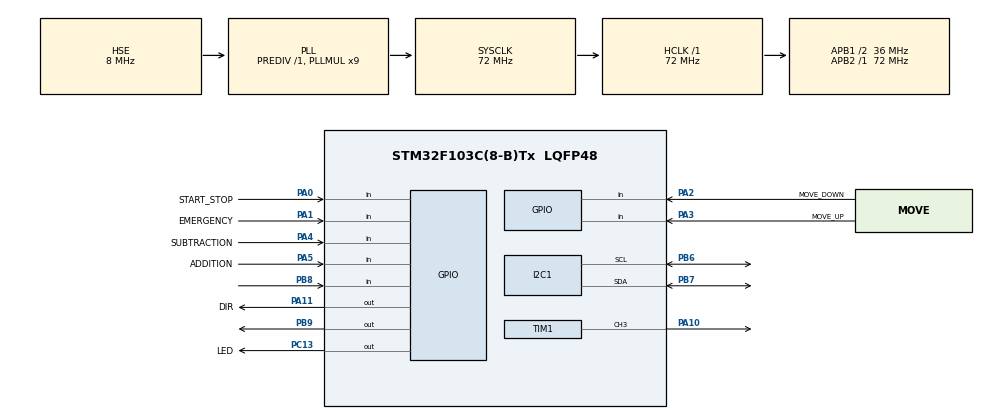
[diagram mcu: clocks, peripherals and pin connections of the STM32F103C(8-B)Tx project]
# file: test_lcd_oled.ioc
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I2C1.I2C_Mode=I2C_Fast
Mcu.Family=STM32F1
Mcu.Name=STM32F103C(8-B)Tx
Mcu.Package=LQFP48
NVIC.PriorityGroup=NVIC_PRIORITYGROUP_4
NVIC.TIM3_IRQn=true\:0\:0\:false\:false\:true\:true\:true\:true
NVIC.TIM4_IRQn=true\:0\:0\:false\:false\:true\:true\:true\:true
PA0-WKUP.GPIO_Label=START_STOP
PA0-WKUP.GPIO_PuPd=GPIO_PULLUP
PA0-WKUP.Signal=GPIO_Input
PA1.GPIO_Label=EMERGENCY
PA1.GPIO_PuPd=GPIO_PULLUP
PA1.Signal=GPIO_Input
PA10.Signal=S_TIM1_CH3
PA11.GPIO_Label=DIR
PA11.GPIO_PuPd=GPIO_PULLUP
PA11.PinState=GPIO_PIN_RESET
PA11.Signal=GPIO_Output
PA13.Mode=Serial_Wire
PA13.Signal=SYS_JTMS-SWDIO
PA14.Mode=Serial_Wire
PA14.Signal=SYS_JTCK-SWCLK
PA2.GPIO_Label=MOVE_DOWN
PA2.GPIO_Mode=GPIO_MODE_INPUT
PA2.GPIO_PuPd=GPIO_PULLUP
PA2.Signal=GPIO_Input
PA3.GPIO_Label=MOVE_UP
PA3.GPIO_PuPd=GPIO_PULLUP
PA3.Signal=GPIO_Input
PA4.GPIO_Label=SUBTRACTION
PA4.GPIO_PuPd=GPIO_PULLUP
PA4.Signal=GPIO_Input
PA5.GPIO_Label=ADDITION
PA5.GPIO_PuPd=GPIO_PULLUP
PA5.Signal=GPIO_Input
PB6.Mode=I2C
PB6.Signal=I2C1_SCL
PB7.Mode=I2C
PB7.Signal=I2C1_SDA
PB8.Signal=GPIO_Input
PB9.Signal=GPIO_Output
PC13-TAMPER-RTC.GPIO_Label=LED
PC13-TAMPER-RTC.GPIO_PuPd=GPIO_PULLDOWN
PC13-TAMPER-RTC.PinState=GPIO_PIN_SET
PC13-TAMPER-RTC.Signal=GPIO_Output
PD0-OSC_IN.Mode=HSE-External-Oscillator
PD0-OSC_IN.Signal=RCC_OSC_IN
PD1-OSC_OUT.Mode=HSE-External-Oscillator
PD1-OSC_OUT.Signal=RCC_OSC_OUT
ProjectManager.HeapSize=0x200
ProjectManager.StackSize=0x400
ProjectManager.TargetToolchain=STM32CubeIDE
RCC.AHBFreq_Value=72000000
RCC.APB1CLKDivider=RCC_HCLK_DIV2
RCC.APB1Freq_Value=36000000
RCC.APB1TimFreq_Value=72000000
RCC.APB2Freq_Value=72000000
RCC.APB2TimFreq_Value=72000000
RCC.HCLKFreq_Value=72000000
RCC.PLLMUL=RCC_PLL_MUL9
RCC.PLLSourceVirtual=RCC_PLLSOURCE_HSE
RCC.SYSCLKFreq_VALUE=72000000
RCC.SYSCLKSource=RCC_SYSCLKSOURCE_PLLCLK
RCC.USBFreq_Value=72000000
SH.S_TIM1_CH3.0=TIM1_CH3,PWM Generation3 CH3
TIM1.Channel-PWM\ Generation3\ CH3=TIM_CHANNEL_3
TIM1.Period=999
TIM1.Prescaler=71
TIM2.Prescaler=71
TIM3.Period=71
TIM3.Prescaler=9999
TIM4.Period=7199
TIM4.Prescaler=9999
VP_TIM1_VS_ClockSourceINT.Mode=Internal
VP_TIM2_VS_ClockSourceINT.Mode=Internal
VP_TIM3_VS_ClockSourceINT.Mode=Internal
VP_TIM4_VS_ClockSourceINT.Mode=Internal
board=custom

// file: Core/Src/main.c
/* USER CODE BEGIN Header */
/**
  ******************************************************************************
  * @file           : main.c
  * @brief          : Main program body
  ******************************************************************************
  * @attention
  *
  * Copyright (c) 2024 STMicroelectronics.
  * All rights reserved.
  *
  * This software is licensed under terms that can be found in the LICENSE file
  * in the root directory of this software component.
  * If no LICENSE file comes with this software, it is provided AS-IS.
  *
  ******************************************************************************
  */
/* USER CODE END Header */
#include "main.h"

/* USER CODE BEGIN Includes */
#include "fonts.h"
#include "ssd1306.h"
#include "stdio.h"
#include "software_timer.h"
#include "button.h"
/* USER CODE END Includes */

/* USER CODE BEGIN PD */
#define DIR_PIN GPIO_PIN_11
#define DIR_PORT GPIOA
#define STEP_PIN GPIO_PIN_10
#define STEP_PORT GPIOA

#define DT_PIN GPIO_PIN_8
#define DT_PORT GPIOB
#define SCK_PIN GPIO_PIN_9
#define SCK_PORT GPIOB

/* USER CODE END PD */

I2C_HandleTypeDef hi2c1;

TIM_HandleTypeDef htim1;
TIM_HandleTypeDef htim2;
TIM_HandleTypeDef htim3;
TIM_HandleTypeDef htim4;

/* USER CODE BEGIN PV */
int i = 11; //points axit y in lcd oled

uint8_t counter = 0;
uint8_t status = 0;

uint8_t set_mode = 1;
uint8_t set_times = 1;
uint8_t set_step = 1;
uint8_t set_lengh = 1;

uint8_t times = 1;
uint8_t lengh = 0;

//variables for step motor
uint8_t dir = 0;

//variables for loadcell
uint32_t force = 0;
uint32_t tare = 8349807;
float knownOriginal = 46000000;  // in milli gram
float knownHX711 = 244104; // 244104
int weight;
/* USER CODE END PV */

void SystemClock_Config(void);
static void MX_GPIO_Init(void);
static void MX_I2C1_Init(void);
static void MX_TIM1_Init(void);
static void MX_TIM2_Init(void);
static void MX_TIM3_Init(void);
static void MX_TIM4_Init(void);

/* USER CODE BEGIN 0 */
void microDelay(uint32_t delay)
{
  __HAL_TIM_SET_COUNTER(&htim2, 0);
  while (__HAL_TIM_GET_COUNTER(&htim2) < delay);
}

int32_t getHX711(void)
{
  uint32_t data = 0;
  uint32_t startTime = HAL_GetTick();
  while(HAL_GPIO_ReadPin(DT_PORT, DT_PIN) == GPIO_PIN_SET)
  {
    if(HAL_GetTick() - startTime > 200)
      return 0;
  }
  for(int8_t len=0; len<24 ; len++)
  {
    HAL_GPIO_WritePin(SCK_PORT, SCK_PIN, GPIO_PIN_SET);
    microDelay(1);
    data = data << 1;
    HAL_GPIO_WritePin(SCK_PORT, SCK_PIN, GPIO_PIN_RESET);
    microDelay(1);
    if(HAL_GPIO_ReadPin(DT_PORT, DT_PIN) == GPIO_PIN_SET)
      data ++;
  }
  data = data ^ 0x800000;
  HAL_GPIO_WritePin(SCK_PORT, SCK_PIN, GPIO_PIN_SET);
  microDelay(1);
  HAL_GPIO_WritePin(SCK_PORT, SCK_PIN, GPIO_PIN_RESET);
  microDelay(1);
  return data;
}

int weigh()
{
  int32_t  total = 0;
  int32_t  samples = 200;
  int milligram;
  float coefficient;
  for(uint16_t i = 0 ; i < samples ; i++)
  {
      total += getHX711();
  }
  int32_t average = (int32_t)(total / samples);
  coefficient = knownOriginal / knownHX711;
  milligram = (int)(average-tare)*coefficient;
  return milligram;
}
/* USER CODE END 0 */

int main(void)
{

  /* MCU Configuration--------------------------------------------------------*/

  /* Reset of all peripherals, Initializes the Flash interface and the Systick. */
  HAL_Init();

  /* Configure the system clock */
  SystemClock_Config();

  /* Initialize all configured peripherals */
  MX_GPIO_Init();
  MX_I2C1_Init();
  MX_TIM1_Init();
  MX_TIM2_Init();
  MX_TIM3_Init();
  MX_TIM4_Init();
  /* USER CODE BEGIN 2 */
  HAL_TIM_PWM_Start(&htim1, TIM_CHANNEL_3);
  __HAL_TIM_SET_COMPARE(&htim1, TIM_CHANNEL_3, 0);

  HAL_TIM_Base_Start(&htim2);

  HAL_TIM_Base_Start_IT(&htim3);
  HAL_TIM_Base_Start_IT(&htim4);

  SSD1306_Init();

  char sum[5];

  SSD1306_GotoXY (0,0);
  SSD1306_Puts ("PROGRAMMED", &Font_7x10, 1);
  SSD1306_GotoXY (11, 20);
  SSD1306_Puts ("BY TRIET NGUYEN", &Font_7x10, 1);
  SSD1306_GotoXY (0, 40);
  SSD1306_Puts ("STARTING.......", &Font_7x10, 1);

  SSD1306_UpdateScreen();
  HAL_Delay (1000);

  SSD1306_ScrollRight(0,7);
  HAL_Delay(3000);
  SSD1306_ScrollLeft(0,7);
  HAL_Delay(3000);
  SSD1306_Stopscroll();
  SSD1306_Clear();

  counter = 1;
  set_timer4(1000);
  /* USER CODE END 2 */

  /* Infinite loop */
  /* USER CODE BEGIN WHILE */
  while (1)
  {
	  if (HAL_GPIO_ReadPin(START_STOP_GPIO_Port, START_STOP_Pin) == 0) {
		  HAL_Delay(20);
	  	  if (HAL_GPIO_ReadPin(START_STOP_GPIO_Port, START_STOP_Pin) == 0){
	  		  if (counter < 5){
	  			  counter++;
	  		  }
	  		  else{
	  			  status++;
	  			  if (status == 2) status = 0;
	  			  if (status == 3) status = 1;
	  			  if (status == 0){
					  SSD1306_GotoXY (56, 11);
					  SSD1306_Puts ("STOP     ", &Font_7x10, 1);
					  SSD1306_UpdateScreen();
	  			  }
	  			  else if (status == 1){
	  				  SSD1306_GotoXY (56, 11);
	  				  SSD1306_Puts ("START    ", &Font_7x10, 1);
	  				  SSD1306_UpdateScreen();
	  			  }
	  		  }
	  	  }
	      while (HAL_GPIO_ReadPin(START_STOP_GPIO_Port, START_STOP_Pin) == 0){};
	  }

	  else if (HAL_GPIO_ReadPin(EMERGENCY_GPIO_Port, EMERGENCY_Pin) == 0) {
		  HAL_Delay(20);
	  	  if (HAL_GPIO_ReadPin(EMERGENCY_GPIO_Port, EMERGENCY_Pin) == 0){
	  		  if (counter > 4) {
				  status = 2;
				  SSD1306_GotoXY (56, 11);
				  SSD1306_Puts ("E_STOP     ", &Font_7x10, 1);
				  SSD1306_UpdateScreen();
	  		  }
	  	  }
	  	  while (HAL_GPIO_ReadPin(EMERGENCY_GPIO_Port, EMERGENCY_Pin) == 0){};
	  }

	  switch (counter)
	  {
	  case 1:

		  SSD1306_Clear();
		  counter++;
		  break;
	  case 2:
		  SSD1306_GotoXY (11,0);
		  SSD1306_Puts ("TESTING MACHINE", &Font_7x10, 1);

		  SSD1306_GotoXY (0, 15);
		  SSD1306_Puts ("SETINGS GRIP BLOCK", &Font_7x10, 1);
		  SSD1306_GotoXY (0, 27);
		  SSD1306_Puts ("CLICK MOVE UP", &Font_7x10, 1);
		  SSD1306_GotoXY (0, 39);
		  SSD1306_Puts (" OR CLICK MOVE DW ", &Font_7x10, 1);
		  SSD1306_GotoXY (0, 51);
		  SSD1306_Puts ("START TO CONTINUE ", &Font_7x10, 1);

		  SSD1306_UpdateScreen();
		  counter++;
		  break;
	  case 3:
		  if (HAL_GPIO_ReadPin(MOVE_UP_GPIO_Port, MOVE_UP_Pin) == 0) {
			  while (HAL_GPIO_ReadPin(MOVE_UP_GPIO_Port, MOVE_UP_Pin) == 0){
				  dir = 0;
				  HAL_GPIO_WritePin(DIR_GPIO_Port, DIR_PIN, dir);
				  __HAL_TIM_SET_COMPARE(&htim1, TIM_CHANNEL_3, 499);
			  }
			  __HAL_TIM_SET_COMPARE(&htim1, TIM_CHANNEL_3, 0);
		  }

		  if (HAL_GPIO_ReadPin(MOVE_DOWN_GPIO_Port, MOVE_DOWN_Pin) == 0) {
			  while (HAL_GPIO_ReadPin(MOVE_DOWN_GPIO_Port, MOVE_DOWN_Pin) == 0){
				  dir = 1;
				  HAL_GPIO_WritePin(DIR_GPIO_Port, DIR_PIN, dir);
				  __HAL_TIM_SET_COMPARE(&htim1, TIM_CHANNEL_3, 499);
			  }
			  __HAL_TIM_SET_COMPARE(&htim1, TIM_CHANNEL_3, 0);
		  }
		  break;
	  case 4:
		  SSD1306_Clear();
		  SSD1306_GotoXY (11,0);
		  SSD1306_Puts ("TESTING MACHINE", &Font_7x10, 1);

		  SSD1306_GotoXY (0, 11);
		  SSD1306_Puts (">MODE :           ", &Font_7x10, 1);
		  SSD1306_GotoXY (0, 22);
		  SSD1306_Puts (" TIMES:           ", &Font_7x10, 1);
		  SSD1306_GotoXY (0, 33);
		  SSD1306_Puts (" STEP :           ", &Font_7x10, 1);
		  SSD1306_GotoXY (0, 44);
		  SSD1306_Puts (" LENGH:           ", &Font_7x10, 1);

		  SSD1306_UpdateScreen();
		  counter++;
		  break;
	  case 5:
		  if (set_mode == 1){
			  SSD1306_GotoXY (56, 11);
			  SSD1306_Puts ("PULL     ", &Font_7x10, 1);
		  }
		  else if (set_mode == 2){
			  SSD1306_GotoXY (56, 11);
			  SSD1306_Puts ("PULL & RE", &Font_7x10, 1);
		  }

		  itoa(set_step, sum, 10);
		  SSD1306_GotoXY (56, 33);
		  SSD1306_Puts (sum, &Font_7x10, 1);

		  itoa(set_times, sum, 10);
		  SSD1306_GotoXY (56, 22);
		  SSD1306_Puts (sum, &Font_7x10, 1);

		  itoa(set_lengh, sum, 10);
		  SSD1306_GotoXY (56, 44);
		  SSD1306_Puts (sum, &Font_7x10, 1);

		  SSD1306_UpdateScreen();

		  if (HAL_GPIO_ReadPin(MOVE_DOWN_GPIO_Port, MOVE_DOWN_Pin) == 0) {
			  HAL_Delay(20);
			  if (HAL_GPIO_ReadPin(MOVE_DOWN_GPIO_Port, MOVE_DOWN_Pin) == 0){
				  SSD1306_GotoXY (0, i);
				  SSD1306_Puts (" ", &Font_7x10, 1);
				  i = i + 11;
				  if (i > 44) {
					  i = 11;
				  }
				  SSD1306_GotoXY (0, i);
				  SSD1306_Puts (">", &Font_7x10, 1);
				  SSD1306_UpdateScreen();
			  }
			  while (HAL_GPIO_ReadPin(MOVE_DOWN_GPIO_Port, MOVE_DOWN_Pin) == 0){};
		  }

		  else if (HAL_GPIO_ReadPin(MOVE_UP_GPIO_Port, MOVE_UP_Pin) == 0) {
			  HAL_Delay(20);
			  if (HAL_GPIO_ReadPin(MOVE_UP_GPIO_Port, MOVE_UP_Pin) == 0){

				  SSD1306_GotoXY (0, i);
				  SSD1306_Puts (" ", &Font_7x10, 1);

				  i = i - 11;
				  if (i < 11) {
					  i = 44;
				  }
				  SSD1306_GotoXY (0, i);
				  SSD1306_Puts (">", &Font_7x10, 1);
				  SSD1306_UpdateScreen();
			  }
			  while (HAL_GPIO_ReadPin(MOVE_UP_GPIO_Port, MOVE_UP_Pin) == 0){};
		  }

		  else if (HAL_GPIO_ReadPin(ADDITION_GPIO_Port, ADDITION_Pin) == 0) {
			  HAL_Delay(20);
			  if (HAL_GPIO_ReadPin(ADDITION_GPIO_Port, ADDITION_Pin) == 0){
				  if (i == 11){
					  set_mode++;
					  if (set_mode > 2) set_mode = 2;

				  }
				  else if (i == 22){
					  if(set_mode == 2) set_times++;
					  SSD1306_GotoXY (56, 22);
					  SSD1306_Puts ("      ", &Font_7x10, 1);
				  }

				  else if (i == 33){
					  set_step++;
					  if (set_step > 2) set_step = 2;
				  }
				  else if (i == 44){
					  set_lengh++;
					  if (set_lengh > 100) set_lengh = 100;
					  SSD1306_GotoXY (56, 44);
					  SSD1306_Puts ("      ", &Font_7x10, 1);
				  }
			  }
			  while (HAL_GPIO_ReadPin(ADDITION_GPIO_Port, ADDITION_Pin) == 0){};
		  }

		  else if (HAL_GPIO_ReadPin(SUBTRACTION_GPIO_Port, SUBTRACTION_Pin) == 0) {
			  HAL_Delay(20);
			  if (HAL_GPIO_ReadPin(SUBTRACTION_GPIO_Port, SUBTRACTION_Pin) == 0){
				  if (i == 11){
					  set_mode--;
					  if (set_mode < 1) set_mode = 1;
				  }
				  else if (i == 22){
					  if (set_mode == 2) {
						  set_times--;
						  if (set_times < 1) set_times = 1;
						  SSD1306_GotoXY (56, 22);
						  SSD1306_Puts ("      ", &Font_7x10, 1);
					  }

				  }
				  else if (i == 33){
					  set_step--;
					  if (set_step < 1) set_step = 1;
				  }
				  else if (i == 44){
					  set_lengh--;
					  if (set_lengh < 1) set_lengh = 1;
					  SSD1306_GotoXY (56,44);
					  SSD1306_Puts ("      ", &Font_7x10, 1);
				  }
			  }
			  while (HAL_GPIO_ReadPin(SUBTRACTION_GPIO_Port, SUBTRACTION_Pin) == 0){};
		  }
		  break;
	  case 6:
		  SSD1306_Clear();
		  SSD1306_GotoXY (11,0);
		  SSD1306_Puts ("TESTING MACHINE", &Font_7x10, 1);

		  SSD1306_GotoXY (0, 11);
		  SSD1306_Puts ("STATUS:           ", &Font_7x10, 1);
		  SSD1306_GotoXY (0, 22);
		  SSD1306_Puts ("FORCE :           ", &Font_7x10, 1);
		  SSD1306_GotoXY (0, 33);
		  SSD1306_Puts ("LENGH :           ", &Font_7x10, 1);
		  SSD1306_GotoXY (0, 44);
		  SSD1306_Puts ("TIMES :           ", &Font_7x10, 1);

		  SSD1306_UpdateScreen();
		  counter++;
		  break;
	  case 7:
		  if ((status == 1) && (set_mode == 1))
		  {
			  HAL_GPIO_WritePin(DIR_GPIO_Port, DIR_PIN, 1);
			  __HAL_TIM_SET_COMPARE(&htim1, TIM_CHANNEL_3, 499);
			  if (set_step == 1)
			  {
				  HAL_Delay(1400);
				  lengh++;
			  }
			  else
			  {
				  HAL_Delay(2800);
				  lengh = lengh + 2;
			  }
			  __HAL_TIM_SET_COMPARE(&htim1, TIM_CHANNEL_3, 0);
			  weight = weigh();
			  force = weight/1000000;

			  if (lengh == set_lengh)	status = 0;

		  }
		  else if ((status == 1) && (set_mode == 2))
		  {
			  HAL_GPIO_WritePin(DIR_GPIO_Port, DIR_PIN, 1);
			  __HAL_TIM_SET_COMPARE(&htim1, TIM_CHANNEL_3, 499);
			  if (set_step == 1)
			  {
				  HAL_Delay(1400);
				  lengh++;
			  }
			  else
			  {
				  HAL_Delay(2800);
				  lengh = lengh + 2;
			  }
			  __HAL_TIM_SET_COMPARE(&htim1, TIM_CHANNEL_3, 0);
			  weight = weigh();
			  force = weight/1000000;

			  if (lengh == set_lengh)	times++;
		  }
	  }

	  /*if (counter == 1){
		  counter++;
		  SSD1306_Clear();
	  }

	  else if (counter == 2){

		  SSD1306_GotoXY (11,0);
		  SSD1306_Puts ("TESTING MACHINE", &Font_7x10, 1);

		  SSD1306_GotoXY (0, 15);
		  SSD1306_Puts ("SETINGS GRIP BLOCK", &Font_7x10, 1);
		  SSD1306_GotoXY (0, 27);
		  SSD1306_Puts ("CLICK MOVE UP", &Font_7x10, 1);
		  SSD1306_GotoXY (0, 39);
		  SSD1306_Puts (" OR CLICK MOVE DW ", &Font_7x10, 1);
		  SSD1306_GotoXY (0, 51);
		  SSD1306_Puts ("START TO CONTINUE ", &Font_7x10, 1);

		  SSD1306_UpdateScreen();

		  if (HAL_GPIO_ReadPin(MOVE_UP_GPIO_Port, MOVE_UP_Pin) == 0) {
			  while (HAL_GPIO_ReadPin(MOVE_UP_GPIO_Port, MOVE_UP_Pin) == 0){
				  dir = 0;
				  HAL_GPIO_WritePin(DIR_GPIO_Port, DIR_PIN, dir);
				  __HAL_TIM_SET_COMPARE(&htim1, TIM_CHANNEL_3, 499);
			  }
			  __HAL_TIM_SET_COMPARE(&htim1, TIM_CHANNEL_3, 0);
		  }

		  if (HAL_GPIO_ReadPin(MOVE_DOWN_GPIO_Port, MOVE_DOWN_Pin) == 0) {
			  while (HAL_GPIO_ReadPin(MOVE_DOWN_GPIO_Port, MOVE_DOWN_Pin) == 0){
				  dir = 1;
				  HAL_GPIO_WritePin(DIR_GPIO_Port, DIR_PIN, dir);
				  __HAL_TIM_SET_COMPARE(&htim1, TIM_CHANNEL_3, 499);
		  	  }
			  __HAL_TIM_SET_COMPARE(&htim1, TIM_CHANNEL_3, 0);
		  }
	  }

	  else if (counter == 3){

		  counter++;

		  SSD1306_Clear();
		  SSD1306_GotoXY (11,0);
		  SSD1306_Puts ("TESTING MACHINE", &Font_7x10, 1);

		  SSD1306_GotoXY (0, 11);
		  SSD1306_Puts (">MODE :           ", &Font_7x10, 1);
		  SSD1306_GotoXY (0, 22);
		  SSD1306_Puts (" TIMES:           ", &Font_7x10, 1);
		  SSD1306_GotoXY (0, 33);
		  SSD1306_Puts (" STEP :           ", &Font_7x10, 1);
		  SSD1306_GotoXY (0, 44);
		  SSD1306_Puts (" LENGH:           ", &Font_7x10, 1);

		  SSD1306_UpdateScreen();

	  }*/
	  /*else if (counter == 4){

		  if (set_mode == 1){
			  SSD1306_GotoXY (56, 11);
			  SSD1306_Puts ("PULL     ", &Font_7x10, 1);
		  }
		  else if (set_mode == 2){
			  SSD1306_GotoXY (56, 11);
			  SSD1306_Puts ("PULL & RE", &Font_7x10, 1);
		  }

		  itoa(set_step, sum, 10);
		  SSD1306_GotoXY (56, 33);
		  SSD1306_Puts (sum, &Font_7x10, 1);

		  itoa(set_times, sum, 10);
		  SSD1306_GotoXY (56, 22);
		  SSD1306_Puts (sum, &Font_7x10, 1);

		  itoa(set_lengh, sum, 10);
		  SSD1306_GotoXY (56, 44);
		  SSD1306_Puts (sum, &Font_7x10, 1);

		  SSD1306_UpdateScreen();

		  if (HAL_GPIO_ReadPin(MOVE_DOWN_GPIO_Port, MOVE_DOWN_Pin) == 0) {
		  	  HAL_Delay(20);
		  	  if (HAL_GPIO_ReadPin(MOVE_DOWN_GPIO_Port, MOVE_DOWN_Pin) == 0){
		  	  	  SSD1306_GotoXY (0, i);
		  	  	  SSD1306_Puts (" ", &Font_7x10, 1);
  	  	  		  i = i + 11;
  	  	  		  if (i > 44) {
 	  	  			  i = 11;
  	  	  		  }
		  	  	  SSD1306_GotoXY (0, i);
		  	  	  SSD1306_Puts (">", &Font_7x10, 1);
		  	  	  SSD1306_UpdateScreen();
		  	  }
		      while (HAL_GPIO_ReadPin(MOVE_DOWN_GPIO_Port, MOVE_DOWN_Pin) == 0){};
		  }

		  else if (HAL_GPIO_ReadPin(MOVE_UP_GPIO_Port, MOVE_UP_Pin) == 0) {
			  HAL_Delay(20);
		  	  if (HAL_GPIO_ReadPin(MOVE_UP_GPIO_Port, MOVE_UP_Pin) == 0){

		  		  SSD1306_GotoXY (0, i);
		  		  SSD1306_Puts (" ", &Font_7x10, 1);

		  		  i = i - 11;
		  		  if (i < 11) {
		  			  i = 44;
		  		  }
		  		  SSD1306_GotoXY (0, i);
		  		  SSD1306_Puts (">", &Font_7x10, 1);
		  		  SSD1306_UpdateScreen();
		  	  }
		  	  while (HAL_GPIO_ReadPin(MOVE_UP_GPIO_Port, MOVE_UP_Pin) == 0){};
		  }

		  else if (HAL_GPIO_ReadPin(ADDITION_GPIO_Port, ADDITION_Pin) == 0) {
			  HAL_Delay(20);
			  if (HAL_GPIO_ReadPin(ADDITION_GPIO_Port, ADDITION_Pin) == 0){
				  if (i == 11){
					  set_mode++;
					  if (set_mode > 2) set_mode = 2;

				  }
				  else if (i == 22){
					  if(set_mode == 2) set_times++;
						 SSD1306_GotoXY (56, 22);
						 SSD1306_Puts ("      ", &Font_7x10, 1);
				  }

				  else if (i == 33){
					  set_step++;
					  if (set_step > 2) set_step = 2;
				  }
				  else if (i == 44){
					  set_lengh++;
					  if (set_lengh > 100) set_lengh = 100;
					  SSD1306_GotoXY (56, 44);
					  SSD1306_Puts ("      ", &Font_7x10, 1);
				  }
			  }
			  while (HAL_GPIO_ReadPin(ADDITION_GPIO_Port, ADDITION_Pin) == 0){};
		  }

		  else if (HAL_GPIO_ReadPin(SUBTRACTION_GPIO_Port, SUBTRACTION_Pin) == 0) {
			  HAL_Delay(20);
			  if (HAL_GPIO_ReadPin(SUBTRACTION_GPIO_Port, SUBTRACTION_Pin) == 0){
				  if (i == 11){
					  set_mode--;
					  if (set_mode < 1) set_mode = 1;
  				  }
  				  else if (i == 22){
  					  if (set_mode == 2) {
  						  set_times--;
  						  if (set_times < 1) set_times = 1;
  						  SSD1306_GotoXY (56, 22);
  						  SSD1306_Puts ("      ", &Font_7x10, 1);
  					  }

  				  }
  				  else if (i == 33){
  					  set_step--;
  					  if (set_step < 1) set_step = 1;
  				  }
  				  else if (i == 44){
				  	  set_lengh--;
				  	  if (set_lengh < 1) set_lengh = 1;
				  	  SSD1306_GotoXY (56,44);
				  	  SSD1306_Puts ("      ", &Font_7x10, 1);
				  }
			  }
			  while (HAL_GPIO_ReadPin(SUBTRACTION_GPIO_Port, SUBTRACTION_Pin) == 0){};
		  }
	  }*/
	  /*else if (counter == 5){
		  SSD1306_Clear();
		  SSD1306_GotoXY (11,0);
		  SSD1306_Puts ("TESTING MACHINE", &Font_7x10, 1);

		  SSD1306_GotoXY (0, 11);
		  SSD1306_Puts ("STATUS:           ", &Font_7x10, 1);
		  SSD1306_GotoXY (0, 22);
		  SSD1306_Puts ("FORCE :           ", &Font_7x10, 1);
		  SSD1306_GotoXY (0, 33);
		  SSD1306_Puts ("LENGH :           ", &Font_7x10, 1);
		  SSD1306_GotoXY (0, 44);
		  SSD1306_Puts ("TIMES :           ", &Font_7x10, 1);

		  SSD1306_UpdateScreen();

		  counter++;
	  }*/

	  /*else if (counter == 7)
	  {
		  if ((status == 1) && (set_mode == 1))
		  {
			  HAL_GPIO_WritePin(DIR_GPIO_Port, DIR_PIN, 1);
			  __HAL_TIM_SET_COMPARE(&htim1, TIM_CHANNEL_3, 499);
			  if (set_step == 1)
			  {
				  HAL_Delay(1400);
				  lengh++;
			  }
			  else
			  {
				  HAL_Delay(2800);
				  lengh = lengh + 2;
			  }
			  __HAL_TIM_SET_COMPARE(&htim1, TIM_CHANNEL_3, 0);
			  weight = weigh();
			  force = weight/1000000;

			  if (lengh == set_lengh)	status = 0;

		  }
		  else if ((status == 1) && (set_mode == 2))
		  {
			  HAL_GPIO_WritePin(DIR_GPIO_Port, DIR_PIN, 1);
			  __HAL_TIM_SET_COMPARE(&htim1, TIM_CHANNEL_3, 499);
			  if (set_step == 1)
			  {
			  	  HAL_Delay(1400);
			  	  lengh++;
			  }
			  else
			  {
			  	  HAL_Delay(2800);
			  	  lengh = lengh + 2;
			  }
			  __HAL_TIM_SET_COMPARE(&htim1, TIM_CHANNEL_3, 0);
			  weight = weigh();
			  force = weight/1000000;

			  if (lengh == set_lengh)	times++;
		  }

	  }
	  else if (counter == 8)
	  {

	  }*/

    /* USER CODE END WHILE */

  }
}

void SystemClock_Config(void)
{
  RCC_OscInitTypeDef RCC_OscInitStruct = {0};
  RCC_ClkInitTypeDef RCC_ClkInitStruct = {0};

  /** Initializes the RCC Oscillators according to the specified parameters
  * in the RCC_OscInitTypeDef structure.
  */
  RCC_OscInitStruct.OscillatorType = RCC_OSCILLATORTYPE_HSE;
  RCC_OscInitStruct.HSEState = RCC_HSE_ON;
  RCC_OscInitStruct.HSEPredivValue = RCC_HSE_PREDIV_DIV1;
  RCC_OscInitStruct.HSIState = RCC_HSI_ON;
  RCC_OscInitStruct.PLL.PLLState = RCC_PLL_ON;
  RCC_OscInitStruct.PLL.PLLSource = RCC_PLLSOURCE_HSE;
  RCC_OscInitStruct.PLL.PLLMUL = RCC_PLL_MUL9;
  if (HAL_RCC_OscConfig(&RCC_OscInitStruct) != HAL_OK)
  {
    Error_Handler();
  }

  /** Initializes the CPU, AHB and APB buses clocks
  */
  RCC_ClkInitStruct.ClockType = RCC_CLOCKTYPE_HCLK|RCC_CLOCKTYPE_SYSCLK
                              |RCC_CLOCKTYPE_PCLK1|RCC_CLOCKTYPE_PCLK2;
  RCC_ClkInitStruct.SYSCLKSource = RCC_SYSCLKSOURCE_PLLCLK;
  RCC_ClkInitStruct.AHBCLKDivider = RCC_SYSCLK_DIV1;
  RCC_ClkInitStruct.APB1CLKDivider = RCC_HCLK_DIV2;
  RCC_ClkInitStruct.APB2CLKDivider = RCC_HCLK_DIV1;

  if (HAL_RCC_ClockConfig(&RCC_ClkInitStruct, FLASH_LATENCY_2) != HAL_OK)
  {
    Error_Handler();
  }
}

static void MX_I2C1_Init(void)
{

  hi2c1.Instance = I2C1;
  hi2c1.Init.ClockSpeed = 400000;
  hi2c1.Init.DutyCycle = I2C_DUTYCYCLE_2;
  hi2c1.Init.OwnAddress1 = 0;
  hi2c1.Init.AddressingMode = I2C_ADDRESSINGMODE_7BIT;
  hi2c1.Init.DualAddressMode = I2C_DUALADDRESS_DISABLE;
  hi2c1.Init.OwnAddress2 = 0;
  hi2c1.Init.GeneralCallMode = I2C_GENERALCALL_DISABLE;
  hi2c1.Init.NoStretchMode = I2C_NOSTRETCH_DISABLE;
  if (HAL_I2C_Init(&hi2c1) != HAL_OK)
  {
    Error_Handler();
  }

}

static void MX_TIM1_Init(void)
{

  TIM_ClockConfigTypeDef sClockSourceConfig = {0};
  TIM_MasterConfigTypeDef sMasterConfig = {0};
  TIM_OC_InitTypeDef sConfigOC = {0};
  TIM_BreakDeadTimeConfigTypeDef sBreakDeadTimeConfig = {0};

  htim1.Instance = TIM1;
  htim1.Init.Prescaler = 71;
  htim1.Init.CounterMode = TIM_COUNTERMODE_UP;
  htim1.Init.Period = 999;
  htim1.Init.ClockDivision = TIM_CLOCKDIVISION_DIV1;
  htim1.Init.RepetitionCounter = 0;
  htim1.Init.AutoReloadPreload = TIM_AUTORELOAD_PRELOAD_DISABLE;
  if (HAL_TIM_Base_Init(&htim1) != HAL_OK)
  {
    Error_Handler();
  }
  sClockSourceConfig.ClockSource = TIM_CLOCKSOURCE_INTERNAL;
  if (HAL_TIM_ConfigClockSource(&htim1, &sClockSourceConfig) != HAL_OK)
  {
    Error_Handler();
  }
  if (HAL_TIM_PWM_Init(&htim1) != HAL_OK)
  {
    Error_Handler();
  }
  sMasterConfig.MasterOutputTrigger = TIM_TRGO_RESET;
  sMasterConfig.MasterSlaveMode = TIM_MASTERSLAVEMODE_DISABLE;
  if (HAL_TIMEx_MasterConfigSynchronization(&htim1, &sMasterConfig) != HAL_OK)
  {
    Error_Handler();
  }
  sConfigOC.OCMode = TIM_OCMODE_PWM1;
  sConfigOC.Pulse = 0;
  sConfigOC.OCPolarity = TIM_OCPOLARITY_HIGH;
  sConfigOC.OCNPolarity = TIM_OCNPOLARITY_HIGH;
  sConfigOC.OCFastMode = TIM_OCFAST_DISABLE;
  sConfigOC.OCIdleState = TIM_OCIDLESTATE_RESET;
  sConfigOC.OCNIdleState = TIM_OCNIDLESTATE_RESET;
  if (HAL_TIM_PWM_ConfigChannel(&htim1, &sConfigOC, TIM_CHANNEL_3) != HAL_OK)
  {
    Error_Handler();
  }
  sBreakDeadTimeConfig.OffStateRunMode = TIM_OSSR_DISABLE;
  sBreakDeadTimeConfig.OffStateIDLEMode = TIM_OSSI_DISABLE;
  sBreakDeadTimeConfig.LockLevel = TIM_LOCKLEVEL_OFF;
  sBreakDeadTimeConfig.DeadTime = 0;
  sBreakDeadTimeConfig.BreakState = TIM_BREAK_DISABLE;
  sBreakDeadTimeConfig.BreakPolarity = TIM_BREAKPOLARITY_HIGH;
  sBreakDeadTimeConfig.AutomaticOutput = TIM_AUTOMATICOUTPUT_DISABLE;
  if (HAL_TIMEx_ConfigBreakDeadTime(&htim1, &sBreakDeadTimeConfig) != HAL_OK)
  {
    Error_Handler();
  }
  HAL_TIM_MspPostInit(&htim1);

}

static void MX_TIM2_Init(void)
{

  TIM_ClockConfigTypeDef sClockSourceConfig = {0};
  TIM_MasterConfigTypeDef sMasterConfig = {0};

  htim2.Instance = TIM2;
  htim2.Init.Prescaler = 71;
  htim2.Init.CounterMode = TIM_COUNTERMODE_UP;
  htim2.Init.Period = 65535;
  htim2.Init.ClockDivision = TIM_CLOCKDIVISION_DIV1;
  htim2.Init.AutoReloadPreload = TIM_AUTORELOAD_PRELOAD_DISABLE;
  if (HAL_TIM_Base_Init(&htim2) != HAL_OK)
  {
    Error_Handler();
  }
  sClockSourceConfig.ClockSource = TIM_CLOCKSOURCE_INTERNAL;
  if (HAL_TIM_ConfigClockSource(&htim2, &sClockSourceConfig) != HAL_OK)
  {
    Error_Handler();
  }
  sMasterConfig.MasterOutputTrigger = TIM_TRGO_RESET;
  sMasterConfig.MasterSlaveMode = TIM_MASTERSLAVEMODE_DISABLE;
  if (HAL_TIMEx_MasterConfigSynchronization(&htim2, &sMasterConfig) != HAL_OK)
  {
    Error_Handler();
  }

}

static void MX_TIM3_Init(void)
{

  TIM_ClockConfigTypeDef sClockSourceConfig = {0};
  TIM_MasterConfigTypeDef sMasterConfig = {0};

  htim3.Instance = TIM3;
  htim3.Init.Prescaler = 9999;
  htim3.Init.CounterMode = TIM_COUNTERMODE_UP;
  htim3.Init.Period = 71;
  htim3.Init.ClockDivision = TIM_CLOCKDIVISION_DIV1;
  htim3.Init.AutoReloadPreload = TIM_AUTORELOAD_PRELOAD_DISABLE;
  if (HAL_TIM_Base_Init(&htim3) != HAL_OK)
  {
    Error_Handler();
  }
  sClockSourceConfig.ClockSource = TIM_CLOCKSOURCE_INTERNAL;
  if (HAL_TIM_ConfigClockSource(&htim3, &sClockSourceConfig) != HAL_OK)
  {
    Error_Handler();
  }
  sMasterConfig.MasterOutputTrigger = TIM_TRGO_RESET;
  sMasterConfig.MasterSlaveMode = TIM_MASTERSLAVEMODE_DISABLE;
  if (HAL_TIMEx_MasterConfigSynchronization(&htim3, &sMasterConfig) != HAL_OK)
  {
    Error_Handler();
  }

}

static void MX_TIM4_Init(void)
{

  TIM_ClockConfigTypeDef sClockSourceConfig = {0};
  TIM_MasterConfigTypeDef sMasterConfig = {0};

  htim4.Instance = TIM4;
  htim4.Init.Prescaler = 9999;
  htim4.Init.CounterMode = TIM_COUNTERMODE_UP;
  htim4.Init.Period = 7199;
  htim4.Init.ClockDivision = TIM_CLOCKDIVISION_DIV1;
  htim4.Init.AutoReloadPreload = TIM_AUTORELOAD_PRELOAD_DISABLE;
  if (HAL_TIM_Base_Init(&htim4) != HAL_OK)
  {
    Error_Handler();
  }
  sClockSourceConfig.ClockSource = TIM_CLOCKSOURCE_INTERNAL;
  if (HAL_TIM_ConfigClockSource(&htim4, &sClockSourceConfig) != HAL_OK)
  {
    Error_Handler();
  }
  sMasterConfig.MasterOutputTrigger = TIM_TRGO_RESET;
  sMasterConfig.MasterSlaveMode = TIM_MASTERSLAVEMODE_DISABLE;
  if (HAL_TIMEx_MasterConfigSynchronization(&htim4, &sMasterConfig) != HAL_OK)
  {
    Error_Handler();
  }

}

static void MX_GPIO_Init(void)
{
  GPIO_InitTypeDef GPIO_InitStruct = {0};

  /* GPIO Ports Clock Enable */
  __HAL_RCC_GPIOC_CLK_ENABLE();
  __HAL_RCC_GPIOD_CLK_ENABLE();
  __HAL_RCC_GPIOA_CLK_ENABLE();
  __HAL_RCC_GPIOB_CLK_ENABLE();

  /*Configure GPIO pin Output Level */
  HAL_GPIO_WritePin(LED_GPIO_Port, LED_Pin, GPIO_PIN_SET);

  /*Configure GPIO pin Output Level */
  HAL_GPIO_WritePin(DIR_GPIO_Port, DIR_Pin, GPIO_PIN_RESET);

  /*Configure GPIO pin Output Level */
  HAL_GPIO_WritePin(GPIOB, GPIO_PIN_9, GPIO_PIN_RESET);

  /*Configure GPIO pin : LED_Pin */
  GPIO_InitStruct.Pin = LED_Pin;
  GPIO_InitStruct.Mode = GPIO_MODE_OUTPUT_PP;
  GPIO_InitStruct.Pull = GPIO_PULLDOWN;
  GPIO_InitStruct.Speed = GPIO_SPEED_FREQ_LOW;
  HAL_GPIO_Init(LED_GPIO_Port, &GPIO_InitStruct);

  /*Configure GPIO pins : START_STOP_Pin EMERGENCY_Pin MOVE_DOWN_Pin MOVE_UP_Pin
                           SUBTRACTION_Pin ADDITION_Pin */
  GPIO_InitStruct.Pin = START_STOP_Pin|EMERGENCY_Pin|MOVE_DOWN_Pin|MOVE_UP_Pin
                          |SUBTRACTION_Pin|ADDITION_Pin;
  GPIO_InitStruct.Mode = GPIO_MODE_INPUT;
  GPIO_InitStruct.Pull = GPIO_PULLUP;
  HAL_GPIO_Init(GPIOA, &GPIO_InitStruct);

  /*Configure GPIO pin : DIR_Pin */
  GPIO_InitStruct.Pin = DIR_Pin;
  GPIO_InitStruct.Mode = GPIO_MODE_OUTPUT_PP;
  GPIO_InitStruct.Pull = GPIO_PULLUP;
  GPIO_InitStruct.Speed = GPIO_SPEED_FREQ_LOW;
  HAL_GPIO_Init(DIR_GPIO_Port, &GPIO_InitStruct);

  /*Configure GPIO pin : PB8 */
  GPIO_InitStruct.Pin = GPIO_PIN_8;
  GPIO_InitStruct.Mode = GPIO_MODE_INPUT;
  GPIO_InitStruct.Pull = GPIO_NOPULL;
  HAL_GPIO_Init(GPIOB, &GPIO_InitStruct);

  /*Configure GPIO pin : PB9 */
  GPIO_InitStruct.Pin = GPIO_PIN_9;
  GPIO_InitStruct.Mode = GPIO_MODE_OUTPUT_PP;
  GPIO_InitStruct.Pull = GPIO_NOPULL;
  GPIO_InitStruct.Speed = GPIO_SPEED_FREQ_LOW;
  HAL_GPIO_Init(GPIOB, &GPIO_InitStruct);

}

/* USER CODE BEGIN 4 */
void HAL_TIM_PeriodElapsedHalfCpltCallback(TIM_HandleTypeDef *htim)
{
  /* Prevent unused argument(s) compilation warning */
  UNUSED(htim);

  /* NOTE : This function should not be modified, when the callback is needed,
            the HAL_TIM_PeriodElapsedHalfCpltCallback could be implemented in the user file
   */
}

/**
  * @brief  Output Compare callback in non-blocking mode
  * @param  htim TIM OC handle
  * @retval None
  */

/* USER CODE END 4 */

void Error_Handler(void)
{
  __disable_irq();
  while (1)
  {
  }
}
